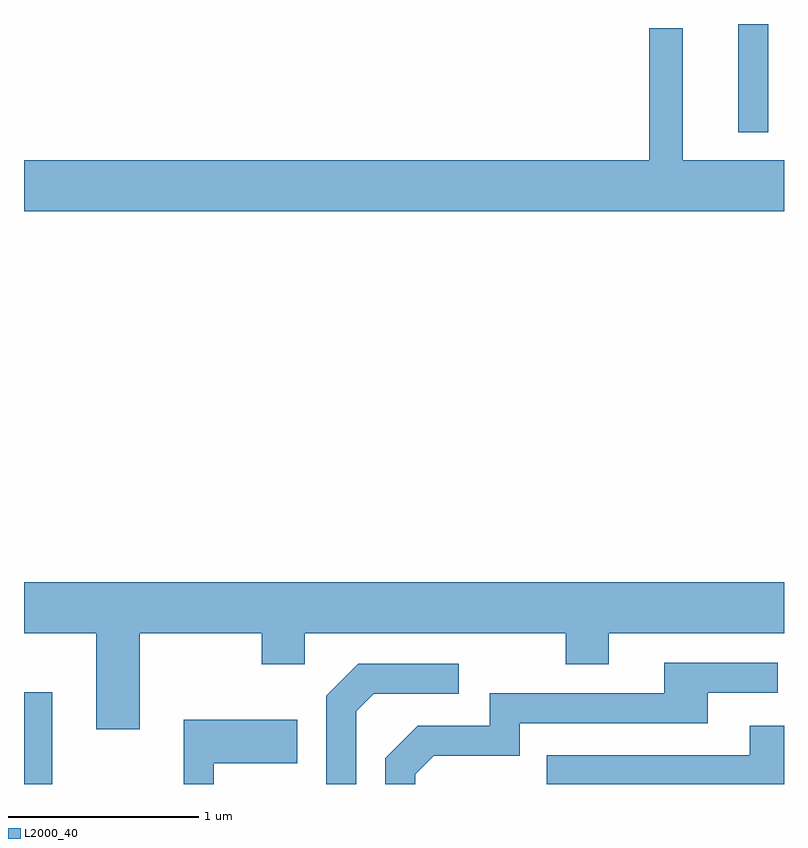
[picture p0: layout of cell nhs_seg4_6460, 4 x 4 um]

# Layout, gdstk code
import gdstk
lib = gdstk.Library(unit=1e-6, precision=1e-09)
def R(c, l, rs):  # rectangles x0, y0, x1, y1
    for r in rs: c.add(gdstk.rectangle(r[:2], r[2:], *l))
def P(c, l, *ps):  # polygons
    for p in ps: c.add(gdstk.Polygon(p, *l))
L2000_40 = (2000, 40)

nhs_seg4_6460 = lib.new_cell('nhs_seg4_6460')
R(nhs_seg4_6460, L2000_40, [(375.611,1253.982,375.759,1254.464), (379.371,1257.413,379.529,1257.982)])
P(nhs_seg4_6460, L2000_40, [(379.611,1257.264),(379.079,1257.264),(379.079,1257.959),(378.901,1257.959),(378.901,1257.264),(375.611,1257.264),(375.611,1256.996),(379.611,1256.996)],
  [(376.219,1254.776),(376.861,1254.776),(376.861,1254.611),(377.089,1254.611),(377.089,1254.776),(378.461,1254.776),(378.461,1254.611),(378.689,1254.611),(378.689,1254.776),(379.611,1254.776),(379.611,1255.044),(375.611,1255.044),(375.611,1254.776),(375.991,1254.776),(375.991,1254.271),(376.219,1254.271)],
  [(377.669,1254.034),(377.767,1254.131),(378.219,1254.131),(378.219,1254.301),(379.209,1254.301),(379.209,1254.461),(379.578,1254.461),(379.578,1254.619),(378.981,1254.619),(378.981,1254.459),(378.061,1254.459),(378.061,1254.289),(377.684,1254.289),(377.511,1254.117),(377.511,1253.982),(377.669,1253.982)],
  [(377.359,1254.364),(377.452,1254.456),(377.898,1254.456),(377.898,1254.614),(377.369,1254.614),(377.201,1254.447),(377.201,1253.982),(377.359,1253.982)],
  [(376.609,1254.091),(377.049,1254.091),(377.049,1254.319),(376.451,1254.319),(376.451,1253.982),(376.609,1253.982)],
  [(379.611,1254.289),(379.431,1254.289),(379.431,1254.134),(378.363,1254.134),(378.363,1253.982),(379.611,1253.982)])

lib.write_gds('nhs_seg4_6460.gds')
